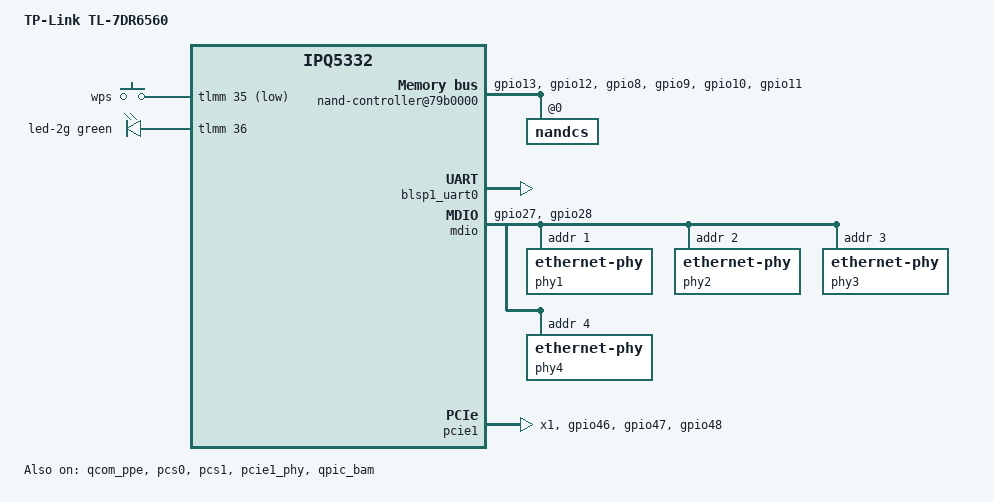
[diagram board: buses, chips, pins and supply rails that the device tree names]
// SPDX-License-Identifier: (GPL-2.0+ OR BSD-3-Clause)
/*
 * TP-Link TL-7DR6560 board (Qualcomm IPQ5322 silicon, AP-MI01.6 class)
 * OpenWrt 移植支线 M2:最小启动板级(USB-UART console + QPIC NAND SMEM 分区)。
 * 有线(PPE/ESS)/WiFi/QCN9224/LED/按键由后续里程碑扩展。
 * 无 memory 节点:与主线 ipq5332 RDP 一致,由 bootloader(bootipq)填充。
 */

/dts-v1/;

#include <dt-bindings/gpio/gpio.h>
#include <dt-bindings/input/input.h>
#include <dt-bindings/leds/common.h>
#include <dt-bindings/interrupt-controller/arm-gic.h>
#include "ipq5332.dtsi"

/ {
	model = "TP-Link TL-7DR6560";
	compatible = "tp-link,tl7dr6560", "qcom,ipq5332";

	aliases {
		serial0 = &blsp1_uart0;
	};

	chosen {
		stdout-path = "serial0";
	};

	soc@0 {
		qpic_bam: dma-controller@7984000 {
			compatible = "qcom,bam-v1.7.0";
			reg = <0x07984000 0x1c000>;
			interrupts = <GIC_SPI 66 IRQ_TYPE_LEVEL_HIGH>;
			clocks = <&gcc GCC_QPIC_AHB_CLK>;
			clock-names = "bam_clk";
			#dma-cells = <1>;
			qcom,ee = <0>;
			status = "okay";
		};

		nand-controller@79b0000 {
			compatible = "qcom,ipq6018-nand";
			reg = <0x079b0000 0x10000>;
			#address-cells = <1>;
			#size-cells = <0>;
			clocks = <&gcc GCC_QPIC_CLK>,
				 <&gcc GCC_QPIC_AHB_CLK>;
			clock-names = "core", "aon";
			dmas = <&qpic_bam 0>,
			       <&qpic_bam 1>,
			       <&qpic_bam 2>;
			dma-names = "tx", "rx", "cmd";
			pinctrl-0 = <&qspi_nand_pins>;
			pinctrl-names = "default";
			status = "okay";

			nandcs@0 {
				reg = <0>;
				nand-ecc-strength = <4>;
				nand-ecc-step-size = <512>;
				nand-bus-width = <8>;

				partitions {
					compatible = "qcom,smem-part";
				};
			};
		};
	};
};

&blsp1_uart0 {
	pinctrl-0 = <&serial_0_pins>;
	pinctrl-names = "default";
	status = "okay";
};

&sleep_clk {
	clock-frequency = <32000>;
};

&xo_board {
	clock-frequency = <24000000>;
};

&tlmm {
	qspi_nand_pins: qspi-nand-state {
		qspi-clk-pins {
			pins = "gpio13";
			function = "qspi_clk";
			drive-strength = <8>;
			bias-pull-down;
		};

		qspi-cs-pins {
			pins = "gpio12";
			function = "qspi_cs";
			drive-strength = <8>;
			bias-pull-up;
		};

		qspi-data-pins {
			pins = "gpio8", "gpio9", "gpio10", "gpio11";
			function = "qspi_data";
			drive-strength = <8>;
			bias-pull-down;
		};
	};
};

/*
 * M3 以太网段(实验 v1):
 * - 4 个铜口 PHY(mdio 地址 1-4,QCA80xx 族)对 2 个 GMAC 的完整映射待真机核对;
 *   v1 先接 WAN(port1)与 LAN 组(port2),stage-1 闸门只需单口可通。
 * - 口序/phy-mode/PCS 通道为初始假设,首刷后按实测修正。
 */
&mdio {
	status = "okay";

	pinctrl-0 = <&mdio_pins>;
	pinctrl-names = "default";

	phy1: ethernet-phy@1 {
		reg = <0x01>;
	};

	phy2: ethernet-phy@2 {
		reg = <0x02>;
	};

	phy3: ethernet-phy@3 {
		reg = <0x03>;
	};

	phy4: ethernet-phy@4 {
		reg = <0x04>;
	};
};

/*
 * Ethernet topology (acwifi teardown #26503 + stock DTS cpu_bmp=0x21):
 *   GMAC1 (pcs0_ch0) <--HSGMII--> QCA8386 port0 (CPU uplink)
 *   GMAC2 (pcs1_ch0) <--HSGMII--> QCA8386 port5 (CPU uplink)
 *   All 4x 2.5G copper ports sit behind the QCA8386 switch; mdio phy1..4
 *   are its integrated PHYs. Shared uplink = 2x2.5G HSGMII = 5Gbps (hw
 *   bottleneck, by design of the stock product).
 * NOTE: the direct phy-handle wiring below is a PLACEHOLDER for first-flash
 * single-port bring-up; mainline PPE has no QCA8386 switch model yet.
 */
&qcom_ppe {
	status = "okay";

	ethernet-ports {
		#address-cells = <1>;
		#size-cells = <0>;

		gmac1: port@1 {
			reg = <1>;
			label = "wan";
			phy-mode = "2500base-x";
			pcs-handle = <&pcs0_ch0>;
			local-mac-address = [00 00 00 00 00 00];
			clocks = <&nsscc NSS_CC_PORT1_MAC_CLK>,
				 <&nsscc NSS_CC_PORT1_RX_CLK>,
				 <&nsscc NSS_CC_PORT1_TX_CLK>;
			clock-names = "mac",
				      "rx",
				      "tx";
			resets = <&nsscc NSS_CC_PORT1_MAC_CLK_ARES>,
				 <&nsscc NSS_CC_PORT1_RX_CLK_ARES>,
				 <&nsscc NSS_CC_PORT1_TX_CLK_ARES>;
			reset-names = "mac",
				      "rx",
				      "tx";
			fixed-link {
				speed = <2500>;
				full-duplex;
				pause;
			};
		};

		gmac2: port@2 {
			reg = <2>;
			label = "lan";
			phy-mode = "2500base-x";
			pcs-handle = <&pcs1_ch0>;
			local-mac-address = [00 00 00 00 00 00];
			clocks = <&nsscc NSS_CC_PORT2_MAC_CLK>,
				 <&nsscc NSS_CC_PORT2_RX_CLK>,
				 <&nsscc NSS_CC_PORT2_TX_CLK>;
			clock-names = "mac",
				      "rx",
				      "tx";
			resets = <&nsscc NSS_CC_PORT2_MAC_CLK_ARES>,
				 <&nsscc NSS_CC_PORT2_RX_CLK_ARES>,
				 <&nsscc NSS_CC_PORT2_TX_CLK_ARES>;
			reset-names = "mac",
				      "rx",
				      "tx";
			fixed-link {
				speed = <2500>;
				full-duplex;
				pause;
			};
		};
	};
};

&pcs0 {
	status = "okay";
};

&pcs1 {
	status = "okay";
};

&tlmm {
	mdio_pins: mdio-state {
		mdc-pins {
			pins = "gpio27";
			function = "mdc1";
			drive-strength = <8>;
			bias-disable;
		};

		mdio-pins {
			pins = "gpio28";
			function = "mdio1";
			drive-strength = <8>;
			bias-pull-up;
		};
	};
};

/*
 * M3/DTB 审计补充(2026-10-25):WPS 键(gpio35)与 2.4G LED(gpio36),取自 stock。
 * stage-1 瘦身内核无 LED/按键驱动,节点无害;stage-2 全量构建即生效
 * (failsafe 触发 + 无 UART 时的启动可视化)。
 */
/ {
	gpio-keys {
		compatible = "gpio-keys";

		button-wps {
			label = "wps";
			linux,code = <KEY_WPS_BUTTON>;
			gpios = <&tlmm 35 GPIO_ACTIVE_LOW>;
			debounce-interval = <60>;
		};
	};

	leds {
		compatible = "gpio-leds";

		led-2g {
			color = <LED_COLOR_ID_GREEN>;
			function = LED_FUNCTION_WLAN;
			gpios = <&tlmm 36 GPIO_ACTIVE_HIGH>;
			default-state = "off";
		};
	};
};

/*
 * M4:QCN9224 5/6G radio(pcie1@0x18000000 = bus 0001 = stock QCN9224_PCI1,三方印证)。
 * perst=47/wake=48 与 stock pci1-pinmux 及 u7 参考板一致(公版布线)。
 * 驱动走主线 ath12k PCI 路径(QCN9274_DEVICE_ID 0x1109 真机实证),无需 DT wifi 子节点;
 * 固件 amss/m3 由 ath12k-firmware-qcn9274 提供,板级 caldata 由 hotplug 脚本自 ART 提取。
 * (内置 2.4G AHB 需 multipd remoteproc 栈,主线 6.18 未备 → M4b 另立项)
 */
&pcie1 {
	status = "okay";
	num-lanes = <1>;

	perst-gpios = <&tlmm 47 GPIO_ACTIVE_LOW>;
	wake-gpios = <&tlmm 48 GPIO_ACTIVE_LOW>;
	pinctrl-names = "default";
	pinctrl-0 = <&pcie1_default>;
};

&pcie1_phy {
	status = "okay";
};

&tlmm {
	pcie1_default: pcie1-default-state {
		clkreq-n-pins {
			pins = "gpio46";
			function = "pcie1_clk";
			drive-strength = <8>;
			bias-pull-up;
		};

		perst-n-pins {
			pins = "gpio47";
			function = "gpio";
			drive-strength = <8>;
			bias-pull-up;
			output-low;
		};

		wake-n-pins {
			pins = "gpio48";
			function = "pcie1_wake";
			drive-strength = <8>;
			bias-pull-up;
		};
	};
};

/*
 * M4b(2.4G 内置 AHB)——离线预铺,status=disabled(未经任何 in-tree 板验证的链,
 * 真机阶段带固件验证后翻一行 status 启用)。链:sec-pil rproc + wcss smp2p + wifi。
 * 数值来源:基址/中断/内存区全部取自本机 stock 反编译 DT;节点契约取自主线
 * qcom,ipq5332-wifi.yaml + ipq9574.dtsi 参考链(5332 res_init 不需 tmel,实测驱动源码)。
 */
/ {
reserved-memory {
	#address-cells = <2>;
	#size-cells = <2>;
	ranges;

	q6_region_w: q6@4a900000 {
		no-map;
		reg = <0x0 0x4a900000 0x0 0x2b00000>;
	};
	m3_dump_w: m3-dump@4d400000 {
		no-map;
		reg = <0x0 0x4d400000 0x0 0x100000>;
	};
	q6_caldb_w: q6-caldb@4d600000 {
		no-map;
		reg = <0x0 0x4d600000 0x0 0x500000>;
	};
	mlo_mem_w: mlo@4db00000 {
		no-map;
		reg = <0x0 0x4db00000 0x0 0x1100000>;
	};
};
};

/ {
wcss_smp2p: smp2p-wcss {
	compatible = "qcom,smp2p";
	qcom,smem = <435>, <428>;

	interrupt-parent = <&intc>;
	interrupts = <GIC_SPI 418 IRQ_TYPE_EDGE_RISING>;
	mboxes = <&apcs_glb 9>;

	wcss_smp2p_out: master-kernel {
		qcom,entry-name = "master-kernel";
		#qcom,smem-state-cells = <1>;
	};

	wcss_smp2p_in: slave-kernel {
		qcom,entry-name = "slave-kernel";
		interrupt-controller;
		#interrupt-cells = <2>;
	};
};

q6v5_wcss: remoteproc@d100000 {
	compatible = "qcom,ipq5332-wcss-sec-pil";
	reg = <0x0d100000 0x4040>;
	firmware-name = "IPQ5332/q6_fw0.mdt", "IPQ5332/iu_fw.mdt";

	interrupts-extended = <&intc GIC_SPI 421 IRQ_TYPE_EDGE_RISING>,
			      <&wcss_smp2p_in 0 IRQ_TYPE_NONE>,
			      <&wcss_smp2p_in 1 IRQ_TYPE_NONE>,
			      <&wcss_smp2p_in 2 IRQ_TYPE_NONE>,
			      <&wcss_smp2p_in 3 IRQ_TYPE_NONE>;
	interrupt-names = "wdog", "fatal", "ready", "handover", "stop-ack";

	qcom,smem-states = <&wcss_smp2p_out 1>, <&wcss_smp2p_out 0>;
	qcom,smem-state-names = "stop", "shutdown";
	memory-region = <&q6_region_w>;

	status = "disabled";

	glink-edge {
		interrupts = <GIC_SPI 416 IRQ_TYPE_EDGE_RISING>;
		label = "rtr";
		qcom,remote-pid = <1>;
		mboxes = <&apcs_glb 8>;
	};
};

wifi_2g: wifi@c000000 {
	compatible = "qcom,ipq5332-wifi";
	reg = <0x0c000000 0x1000000>;
	clocks = <&gcc GCC_XO_CLK>;
	clock-names = "xo";
	interrupts-extended = <&wcss_smp2p_in 8 IRQ_TYPE_NONE>,
			      <&wcss_smp2p_in 9 IRQ_TYPE_NONE>,
			      <&wcss_smp2p_in 12 IRQ_TYPE_NONE>,
			      <&wcss_smp2p_in 11 IRQ_TYPE_NONE>,
			      <&intc GIC_SPI 559 IRQ_TYPE_EDGE_RISING>,
			      <&intc GIC_SPI 560 IRQ_TYPE_EDGE_RISING>,
			      <&intc GIC_SPI 561 IRQ_TYPE_EDGE_RISING>,
			      <&intc GIC_SPI 422 IRQ_TYPE_EDGE_RISING>,
			      <&intc GIC_SPI 423 IRQ_TYPE_EDGE_RISING>,
			      <&intc GIC_SPI 424 IRQ_TYPE_EDGE_RISING>,
			      <&intc GIC_SPI 425 IRQ_TYPE_EDGE_RISING>,
			      <&intc GIC_SPI 426 IRQ_TYPE_EDGE_RISING>,
			      <&intc GIC_SPI 427 IRQ_TYPE_EDGE_RISING>,
			      <&intc GIC_SPI 428 IRQ_TYPE_EDGE_RISING>,
			      <&intc GIC_SPI 429 IRQ_TYPE_EDGE_RISING>,
			      <&intc GIC_SPI 430 IRQ_TYPE_EDGE_RISING>,
			      <&intc GIC_SPI 431 IRQ_TYPE_EDGE_RISING>,
			      <&intc GIC_SPI 432 IRQ_TYPE_EDGE_RISING>,
			      <&intc GIC_SPI 433 IRQ_TYPE_EDGE_RISING>,
			      <&intc GIC_SPI 491 IRQ_TYPE_EDGE_RISING>,
			      <&intc GIC_SPI 495 IRQ_TYPE_EDGE_RISING>,
			      <&intc GIC_SPI 493 IRQ_TYPE_EDGE_RISING>,
			      <&intc GIC_SPI 544 IRQ_TYPE_EDGE_RISING>,
			      <&intc GIC_SPI 457 IRQ_TYPE_EDGE_RISING>,
			      <&intc GIC_SPI 466 IRQ_TYPE_EDGE_RISING>,
			      <&intc GIC_SPI 497 IRQ_TYPE_EDGE_RISING>,
			      <&intc GIC_SPI 454 IRQ_TYPE_EDGE_RISING>,
			      <&intc GIC_SPI 453 IRQ_TYPE_EDGE_RISING>,
			      <&intc GIC_SPI 452 IRQ_TYPE_EDGE_RISING>,
			      <&intc GIC_SPI 451 IRQ_TYPE_EDGE_RISING>,
			      <&intc GIC_SPI 488 IRQ_TYPE_EDGE_RISING>,
			      <&intc GIC_SPI 488 IRQ_TYPE_EDGE_RISING>,
			      <&intc GIC_SPI 484 IRQ_TYPE_EDGE_RISING>,
			      <&intc GIC_SPI 554 IRQ_TYPE_EDGE_RISING>,
			      <&intc GIC_SPI 554 IRQ_TYPE_EDGE_RISING>,
			      <&intc GIC_SPI 549 IRQ_TYPE_EDGE_RISING>,
			      <&intc GIC_SPI 507 IRQ_TYPE_EDGE_RISING>,
			      <&intc GIC_SPI 500 IRQ_TYPE_EDGE_RISING>,
			      <&intc GIC_SPI 499 IRQ_TYPE_EDGE_RISING>,
			      <&intc GIC_SPI 498 IRQ_TYPE_EDGE_RISING>,
			      <&intc GIC_SPI 450 IRQ_TYPE_EDGE_RISING>,
			      <&intc GIC_SPI 449 IRQ_TYPE_EDGE_RISING>,
			      <&intc GIC_SPI 448 IRQ_TYPE_EDGE_RISING>,
			      <&intc GIC_SPI 447 IRQ_TYPE_EDGE_RISING>,
			      <&intc GIC_SPI 543 IRQ_TYPE_EDGE_RISING>,
			      <&intc GIC_SPI 486 IRQ_TYPE_EDGE_RISING>,
			      <&intc GIC_SPI 486 IRQ_TYPE_EDGE_RISING>,
			      <&intc GIC_SPI 482 IRQ_TYPE_EDGE_RISING>,
			      <&intc GIC_SPI 419 IRQ_TYPE_EDGE_RISING>;
	interrupt-names = "fatal", "ready", "spawn", "stop-ack",
			  "misc-pulse1", "misc-latch", "sw-exception",
			  "ce0", "ce1", "ce2", "ce3", "ce4", "ce5", "ce6", "ce7",
			  "ce8", "ce9", "ce10", "ce11",
			  "host2wbm-desc-feed", "host2reo-re-injection",
			  "host2reo-command", "host2rxdma-monitor-ring1",
			  "reo2ost-exception", "wbm2host-rx-release",
			  "reo2host-status", "reo2host-destination-ring4",
			  "reo2host-destination-ring3", "reo2host-destination-ring2",
			  "reo2host-destination-ring1",
			  "rxdma2host-monitor-destination-mac3",
			  "rxdma2host-monitor-destination-mac2",
			  "rxdma2host-monitor-destination-mac1",
			  "host2rxdma-host-buf-ring-mac3",
			  "host2rxdma-host-buf-ring-mac2",
			  "host2rxdma-host-buf-ring-mac1",
			  "host2tcl-input-ring4", "host2tcl-input-ring3",
			  "host2tcl-input-ring2", "host2tcl-input-ring1",
			  "wbm2host-tx-completions-ring4",
			  "wbm2host-tx-completions-ring3",
			  "wbm2host-tx-completions-ring2",
			  "wbm2host-tx-completions-ring1",
			  "host2tx-monitor-ring1",
			  "txmon2host-monitor-destination-mac3",
			  "txmon2host-monitor-destination-mac2",
			  "txmon2host-monitor-destination-mac1",
			  "umac-reset";

	memory-region = <&q6_region_w>, <&m3_dump_w>, <&q6_caldb_w>, <&mlo_mem_w>;
	memory-region-names = "q6-region", "m3-dump", "q6-caldb", "mlo-global-mem";
	qcom,rproc = <&q6v5_wcss>;
	qcom,smem-states = <&wcss_smp2p_out 8>,
			   <&wcss_smp2p_out 9>,
			   <&wcss_smp2p_out 10>;
	qcom,smem-state-names = "shutdown", "stop", "spawn";

	status = "disabled";
};
};
